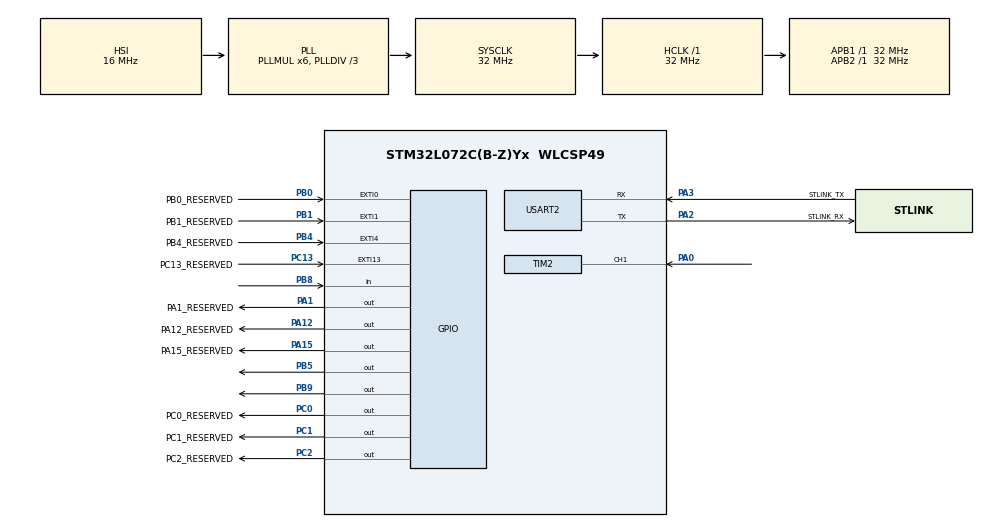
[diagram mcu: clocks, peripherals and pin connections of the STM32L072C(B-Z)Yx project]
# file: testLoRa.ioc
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Mcu.Family=STM32L0
Mcu.Name=STM32L072C(B-Z)Yx
Mcu.Package=WLCSP49
NVIC.EXTI0_1_IRQn=true\:0\:0\:false\:false\:true\:true\:true\:true
NVIC.EXTI4_15_IRQn=true\:0\:0\:false\:false\:true\:true\:true\:true
NVIC.RTC_IRQn=true\:0\:0\:false\:false\:true\:true\:true\:true
NVIC.TIM2_IRQn=true\:0\:0\:false\:false\:true\:true\:true\:true
NVIC.TIM6_DAC_IRQn=true\:0\:0\:false\:false\:true\:true\:true\:true
NVIC.USART2_IRQn=true\:0\:0\:false\:false\:true\:true\:true\:true
PA0.Signal=S_TIM2_CH1
PA1.GPIO_Label=PA1_RESERVED
PA1.GPIO_Speed=GPIO_SPEED_FREQ_HIGH
PA1.PinState=GPIO_PIN_RESET
PA1.Signal=GPIO_Output
PA12.GPIO_Label=PA12_RESERVED
PA12.GPIO_Speed=GPIO_SPEED_FREQ_HIGH
PA12.Signal=GPIO_Output
PA15.GPIO_Label=PA15_RESERVED
PA15.GPIO_Speed=GPIO_SPEED_FREQ_HIGH
PA15.Signal=GPIO_Output
PA2.GPIO_Label=STLINK_RX
PA2.Mode=Asynchronous
PA2.Signal=USART2_TX
PA3.GPIO_Label=STLINK_TX
PA3.Mode=Asynchronous
PA3.Signal=USART2_RX
PA6.GPIO_Label=PA6_RESERVED
PA6.Signal=SPI1_MISO
PA7.GPIO_Label=PA7_RESERVED
PA7.Signal=SPI1_MOSI
PB0.GPIO_Label=PB0_RESERVED
PB0.Signal=GPXTI0
PB1.GPIO_Label=PB1_RESERVED
PB1.Signal=GPXTI1
PB3.Signal=S_TIM2_CH2
PB4.GPIO_Label=PB4_RESERVED
PB4.Signal=GPXTI4
PB5.GPIO_Speed=GPIO_SPEED_FREQ_VERY_HIGH
PB5.Signal=GPIO_Output
PB8.Signal=GPIO_Input
PB9.GPIO_Speed=GPIO_SPEED_FREQ_HIGH
PB9.Signal=GPIO_Output
PC0.GPIO_Label=PC0_RESERVED
PC0.GPIO_Speed=GPIO_SPEED_FREQ_HIGH
PC0.Signal=GPIO_Output
PC1.GPIO_Label=PC1_RESERVED
PC1.GPIO_Speed=GPIO_SPEED_FREQ_HIGH
PC1.Signal=GPIO_Output
PC13.GPIO_Label=PC13_RESERVED
PC13.Signal=GPXTI13
PC2.GPIO_Label=PC2_RESERVED
PC2.GPIO_Speed=GPIO_SPEED_FREQ_HIGH
PC2.Signal=GPIO_Output
PH0-OSC_IN.Mode=HSE-External-Oscillator
PH0-OSC_IN.Signal=RCC_OSC_IN
PH1-OSC_OUT.Mode=HSE-External-Oscillator
PH1-OSC_OUT.Signal=RCC_OSC_OUT
ProjectManager.HeapSize=0x200
ProjectManager.StackSize=0x400
ProjectManager.TargetToolchain=STM32CubeIDE
RCC.AHBFreq_Value=32000000
RCC.APB1Freq_Value=32000000
RCC.APB1TimFreq_Value=32000000
RCC.APB2Freq_Value=32000000
RCC.APB2TimFreq_Value=32000000
RCC.HCLKFreq_Value=32000000
RCC.HSE_VALUE=8000000
RCC.HSI16_VALUE=16000000
RCC.HSI48_VALUE=48000000
RCC.HSI_VALUE=16000000
RCC.LSE_VALUE=32768
RCC.MSI_VALUE=2097000
RCC.PLLDIV=RCC_PLLDIV_3
RCC.PLLMUL=RCC_PLLMUL_6
RCC.SYSCLKFreq_VALUE=32000000
RCC.SYSCLKSource=RCC_SYSCLKSOURCE_PLLCLK
RCC.VCOOutputFreq_Value=96000000
RTC.Alarm-Alarm\ A=RTC_ALARM_A
RTC.AlarmSubSecondMask-Alarm\ A=RTC_ALARMSUBSECONDMASK_NONE
RTC.AsynchPrediv=31
RTC.Format=RTC_FORMAT_BIN
RTC.SynchPrediv=1023
SH.S_TIM2_CH1.0=TIM2_CH1,Input_Capture1_from_TI1
SH.S_TIM2_CH2.0=TIM2_CH2
TIM2.AutoReloadPreload=TIM_AUTORELOAD_PRELOAD_ENABLE
TIM2.Channel-Input_Capture1_from_TI1=TIM_CHANNEL_1
TIM2.Period=0xffff -1
TIM2.Prescaler=32-1
TIM6.AutoReloadPreload=TIM_AUTORELOAD_PRELOAD_ENABLE
TIM6.Period=29
USART2.VirtualMode-Asynchronous=VM_ASYNC
VP_RTC_VS_RTC_Activate.Mode=RTC_Enabled
VP_RTC_VS_RTC_Alarm_A_Intern.Mode=Alarm A
VP_RTC_VS_RTC_Calendar.Mode=RTC_Calendar
VP_TIM2_VS_ClockSourceINT.Mode=Internal
VP_TIM6_VS_ClockSourceINT.Mode=Enable_Timer
board=B-L072Z-LRWAN1

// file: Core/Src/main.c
/* USER CODE BEGIN Header */
/**
  ******************************************************************************
  * @file           : main.c
  * @brief          : Main program body
  ******************************************************************************
  * @attention
  *
  * Copyright (c) 2024 STMicroelectronics.
  * All rights reserved.
  *
  * This software is licensed under terms that can be found in the LICENSE file
  * in the root directory of this software component.
  * If no LICENSE file comes with this software, it is provided AS-IS.
  *
  ******************************************************************************
  */
/* USER CODE END Header */
#include "main.h"

/* USER CODE BEGIN Includes */
#include <stdio.h>
#include "retarget.h"
/* USER CODE END Includes */

RTC_HandleTypeDef hrtc;

TIM_HandleTypeDef htim2;
TIM_HandleTypeDef htim6;

UART_HandleTypeDef huart2;

void SystemClock_Config(void);
static void MX_GPIO_Init(void);
static void MX_RTC_Init(void);
static void MX_USART2_UART_Init(void);
static void MX_TIM2_Init(void);
static void MX_TIM6_Init(void);

/* USER CODE BEGIN 0 */

#define TIMER_FREQUENCY_MHZ 1.9841 // Assurez-vous que cette valeur correspond à la configuration de votre timer

void init_timer_for_microseconds() {
    __HAL_RCC_TIM2_CLK_ENABLE(); // Activer l'horloge du TIM2

    TIM_HandleTypeDef htim2;
    htim2.Instance = TIM2;
    htim2.Init.Prescaler = (uint32_t)((SystemCoreClock / 1000000) - 1); // Configurer pour 1 MHz
    htim2.Init.CounterMode = TIM_COUNTERMODE_UP;
    htim2.Init.Period = 0xFFFF; // Maximum possible
    htim2.Init.ClockDivision = TIM_CLOCKDIVISION_DIV1;
    htim2.Init.AutoReloadPreload = TIM_AUTORELOAD_PRELOAD_DISABLE;
    HAL_TIM_Base_Init(&htim2);

    HAL_TIM_Base_Start(&htim2); // Démarrer le timer
}

uint32_t get_microseconds() {
    return __HAL_TIM_GET_COUNTER(&htim2); // Lire le compteur du TIM2
}

void SysTick_Init(void) {
    // Configuration de SysTick pour compter à 1MHz
    // Supposons que SystemCoreClock est la fréquence du CPU en Hz
    SysTick_Config(1);
}

void delay_us(uint32_t microseconds) {
    uint32_t ticks = 0;
    uint32_t t = microseconds * 1.86478099624; //64 de diff
    while (ticks < t) {
        ticks ++;
        //printf("%ld\n", ticks);
    }
}
/* USER CODE END 0 */

int main(void)
{

  /* USER CODE BEGIN 1 */
	uint32_t start = 0;
	uint32_t end = 0;
	uint32_t duree = 0;
	uint32_t distance = 0;
	uint32_t begin = 0;

  /* USER CODE END 1 */

  /* MCU Configuration--------------------------------------------------------*/

  /* Reset of all peripherals, Initializes the Flash interface and the Systick. */
  HAL_Init();

  /* Configure the system clock */
  SystemClock_Config();

  /* Initialize all configured peripherals */
  MX_GPIO_Init();
  MX_RTC_Init();
  MX_USART2_UART_Init();
  MX_TIM2_Init();
  MX_TIM6_Init();
  /* USER CODE BEGIN 2 */
  RetargetInit(&huart2);
  init_timer_for_microseconds();
  /* USER CODE END 2 */

  /* Infinite loop */
  /* USER CODE BEGIN WHILE */
  while (1)
  {

//	while (1)
//	{
//		printf("on\n");
//		HAL_GPIO_WritePin(GPIOB, GPIO_PIN_5, 1);
//		delay_us(1000000);
//		printf("off\n");
//		HAL_GPIO_WritePin(GPIOB, GPIO_PIN_5, 0);
//		delay_us(1000000);
//	}

	HAL_GPIO_WritePin(GPIOB, GPIO_PIN_9, 0);
	delay_us(2);
	HAL_GPIO_WritePin(GPIOB, GPIO_PIN_9, 1);
	delay_us(10);
	HAL_GPIO_WritePin(GPIOB, GPIO_PIN_9, 0);
	begin = HAL_GetTick();
	while(!HAL_GPIO_ReadPin(GPIOB, GPIO_PIN_8) && (HAL_GetTick() - 100) < begin)
	{
		//printf("readpin : %d \n",HAL_GPIO_ReadPin(GPIOB, GPIO_PIN_8));
	}
	if ((HAL_GetTick() - 100) < begin)
	{
		start = get_microseconds();

		while(HAL_GPIO_ReadPin(GPIOB, GPIO_PIN_8));

		end = get_microseconds();

		duree = end - start ;

		distance = duree * 340 / 2 / 10000;
		if (distance < 500)
		{
			printf("distance : %ld cm \n", distance);
		}
		else
		{
			printf("erreur de mesure\n");
		}

	}
	else
	{
		printf("erreur de mesure\n");
	}

	HAL_Delay(500);
    /* USER CODE END WHILE */

  }
}

void SystemClock_Config(void)
{
  RCC_OscInitTypeDef RCC_OscInitStruct = {0};
  RCC_ClkInitTypeDef RCC_ClkInitStruct = {0};
  RCC_PeriphCLKInitTypeDef PeriphClkInit = {0};

  /** Configure the main internal regulator output voltage
  */
  __HAL_PWR_VOLTAGESCALING_CONFIG(PWR_REGULATOR_VOLTAGE_SCALE1);

  /** Initializes the RCC Oscillators according to the specified parameters
  * in the RCC_OscInitTypeDef structure.
  */
  RCC_OscInitStruct.OscillatorType = RCC_OSCILLATORTYPE_HSI|RCC_OSCILLATORTYPE_LSI;
  RCC_OscInitStruct.HSIState = RCC_HSI_ON;
  RCC_OscInitStruct.HSICalibrationValue = RCC_HSICALIBRATION_DEFAULT;
  RCC_OscInitStruct.LSIState = RCC_LSI_ON;
  RCC_OscInitStruct.PLL.PLLState = RCC_PLL_ON;
  RCC_OscInitStruct.PLL.PLLSource = RCC_PLLSOURCE_HSI;
  RCC_OscInitStruct.PLL.PLLMUL = RCC_PLLMUL_6;
  RCC_OscInitStruct.PLL.PLLDIV = RCC_PLLDIV_3;
  if (HAL_RCC_OscConfig(&RCC_OscInitStruct) != HAL_OK)
  {
    Error_Handler();
  }

  /** Initializes the CPU, AHB and APB buses clocks
  */
  RCC_ClkInitStruct.ClockType = RCC_CLOCKTYPE_HCLK|RCC_CLOCKTYPE_SYSCLK
                              |RCC_CLOCKTYPE_PCLK1|RCC_CLOCKTYPE_PCLK2;
  RCC_ClkInitStruct.SYSCLKSource = RCC_SYSCLKSOURCE_PLLCLK;
  RCC_ClkInitStruct.AHBCLKDivider = RCC_SYSCLK_DIV1;
  RCC_ClkInitStruct.APB1CLKDivider = RCC_HCLK_DIV1;
  RCC_ClkInitStruct.APB2CLKDivider = RCC_HCLK_DIV1;

  if (HAL_RCC_ClockConfig(&RCC_ClkInitStruct, FLASH_LATENCY_1) != HAL_OK)
  {
    Error_Handler();
  }
  PeriphClkInit.PeriphClockSelection = RCC_PERIPHCLK_USART2|RCC_PERIPHCLK_RTC;
  PeriphClkInit.Usart2ClockSelection = RCC_USART2CLKSOURCE_PCLK1;
  PeriphClkInit.RTCClockSelection = RCC_RTCCLKSOURCE_LSI;
  if (HAL_RCCEx_PeriphCLKConfig(&PeriphClkInit) != HAL_OK)
  {
    Error_Handler();
  }
}

static void MX_RTC_Init(void)
{

  RTC_TimeTypeDef sTime = {0};
  RTC_DateTypeDef sDate = {0};
  RTC_AlarmTypeDef sAlarm = {0};

  /** Initialize RTC Only
  */
  hrtc.Instance = RTC;
  hrtc.Init.HourFormat = RTC_HOURFORMAT_24;
  hrtc.Init.AsynchPrediv = 31;
  hrtc.Init.SynchPrediv = 1023;
  hrtc.Init.OutPut = RTC_OUTPUT_DISABLE;
  hrtc.Init.OutPutRemap = RTC_OUTPUT_REMAP_NONE;
  hrtc.Init.OutPutPolarity = RTC_OUTPUT_POLARITY_HIGH;
  hrtc.Init.OutPutType = RTC_OUTPUT_TYPE_OPENDRAIN;
  if (HAL_RTC_Init(&hrtc) != HAL_OK)
  {
    Error_Handler();
  }

  /** Initialize RTC and set the Time and Date
  */
  sTime.Hours = 0;
  sTime.Minutes = 0;
  sTime.Seconds = 0;
  sTime.DayLightSaving = RTC_DAYLIGHTSAVING_NONE;
  sTime.StoreOperation = RTC_STOREOPERATION_RESET;
  if (HAL_RTC_SetTime(&hrtc, &sTime, RTC_FORMAT_BIN) != HAL_OK)
  {
    Error_Handler();
  }
  sDate.WeekDay = RTC_WEEKDAY_MONDAY;
  sDate.Month = RTC_MONTH_JANUARY;
  sDate.Date = 1;
  sDate.Year = 0;

  if (HAL_RTC_SetDate(&hrtc, &sDate, RTC_FORMAT_BIN) != HAL_OK)
  {
    Error_Handler();
  }

  /** Enable the Alarm A
  */
  sAlarm.AlarmTime.Hours = 0;
  sAlarm.AlarmTime.Minutes = 0;
  sAlarm.AlarmTime.Seconds = 0;
  sAlarm.AlarmTime.SubSeconds = 0;
  sAlarm.AlarmTime.DayLightSaving = RTC_DAYLIGHTSAVING_NONE;
  sAlarm.AlarmTime.StoreOperation = RTC_STOREOPERATION_RESET;
  sAlarm.AlarmMask = RTC_ALARMMASK_NONE;
  sAlarm.AlarmSubSecondMask = RTC_ALARMSUBSECONDMASK_NONE;
  sAlarm.AlarmDateWeekDaySel = RTC_ALARMDATEWEEKDAYSEL_DATE;
  sAlarm.AlarmDateWeekDay = 1;
  sAlarm.Alarm = RTC_ALARM_A;
  if (HAL_RTC_SetAlarm_IT(&hrtc, &sAlarm, RTC_FORMAT_BIN) != HAL_OK)
  {
    Error_Handler();
  }

}

static void MX_TIM2_Init(void)
{

  TIM_ClockConfigTypeDef sClockSourceConfig = {0};
  TIM_MasterConfigTypeDef sMasterConfig = {0};
  TIM_IC_InitTypeDef sConfigIC = {0};

  htim2.Instance = TIM2;
  htim2.Init.Prescaler = 32-1;
  htim2.Init.CounterMode = TIM_COUNTERMODE_UP;
  htim2.Init.Period = 0xffff -1;
  htim2.Init.ClockDivision = TIM_CLOCKDIVISION_DIV1;
  htim2.Init.AutoReloadPreload = TIM_AUTORELOAD_PRELOAD_ENABLE;
  if (HAL_TIM_Base_Init(&htim2) != HAL_OK)
  {
    Error_Handler();
  }
  sClockSourceConfig.ClockSource = TIM_CLOCKSOURCE_INTERNAL;
  if (HAL_TIM_ConfigClockSource(&htim2, &sClockSourceConfig) != HAL_OK)
  {
    Error_Handler();
  }
  if (HAL_TIM_IC_Init(&htim2) != HAL_OK)
  {
    Error_Handler();
  }
  sMasterConfig.MasterOutputTrigger = TIM_TRGO_RESET;
  sMasterConfig.MasterSlaveMode = TIM_MASTERSLAVEMODE_DISABLE;
  if (HAL_TIMEx_MasterConfigSynchronization(&htim2, &sMasterConfig) != HAL_OK)
  {
    Error_Handler();
  }
  sConfigIC.ICPolarity = TIM_INPUTCHANNELPOLARITY_RISING;
  sConfigIC.ICSelection = TIM_ICSELECTION_DIRECTTI;
  sConfigIC.ICPrescaler = TIM_ICPSC_DIV1;
  sConfigIC.ICFilter = 0;
  if (HAL_TIM_IC_ConfigChannel(&htim2, &sConfigIC, TIM_CHANNEL_1) != HAL_OK)
  {
    Error_Handler();
  }

}

static void MX_TIM6_Init(void)
{

  TIM_MasterConfigTypeDef sMasterConfig = {0};

  htim6.Instance = TIM6;
  htim6.Init.Prescaler = 0;
  htim6.Init.CounterMode = TIM_COUNTERMODE_UP;
  htim6.Init.Period = 29;
  htim6.Init.AutoReloadPreload = TIM_AUTORELOAD_PRELOAD_ENABLE;
  if (HAL_TIM_Base_Init(&htim6) != HAL_OK)
  {
    Error_Handler();
  }
  sMasterConfig.MasterOutputTrigger = TIM_TRGO_RESET;
  sMasterConfig.MasterSlaveMode = TIM_MASTERSLAVEMODE_DISABLE;
  if (HAL_TIMEx_MasterConfigSynchronization(&htim6, &sMasterConfig) != HAL_OK)
  {
    Error_Handler();
  }

}

static void MX_USART2_UART_Init(void)
{

  huart2.Instance = USART2;
  huart2.Init.BaudRate = 115200;
  huart2.Init.WordLength = UART_WORDLENGTH_8B;
  huart2.Init.StopBits = UART_STOPBITS_1;
  huart2.Init.Parity = UART_PARITY_NONE;
  huart2.Init.Mode = UART_MODE_TX_RX;
  huart2.Init.HwFlowCtl = UART_HWCONTROL_NONE;
  huart2.Init.OverSampling = UART_OVERSAMPLING_16;
  huart2.Init.OneBitSampling = UART_ONE_BIT_SAMPLE_DISABLE;
  huart2.AdvancedInit.AdvFeatureInit = UART_ADVFEATURE_NO_INIT;
  if (HAL_UART_Init(&huart2) != HAL_OK)
  {
    Error_Handler();
  }

}

static void MX_GPIO_Init(void)
{
  GPIO_InitTypeDef GPIO_InitStruct = {0};

  /* GPIO Ports Clock Enable */
  __HAL_RCC_GPIOA_CLK_ENABLE();
  __HAL_RCC_GPIOB_CLK_ENABLE();
  __HAL_RCC_GPIOC_CLK_ENABLE();
  __HAL_RCC_GPIOH_CLK_ENABLE();

  /*Configure GPIO pin Output Level */
  HAL_GPIO_WritePin(GPIOA, PA15_RESERVED_Pin|PA12_RESERVED_Pin|PA1_RESERVED_Pin, GPIO_PIN_RESET);

  /*Configure GPIO pin Output Level */
  HAL_GPIO_WritePin(GPIOB, GPIO_PIN_5|GPIO_PIN_9, GPIO_PIN_RESET);

  /*Configure GPIO pin Output Level */
  HAL_GPIO_WritePin(GPIOC, PC1_RESERVED_Pin|PC0_RESERVED_Pin|PC2_RESERVED_Pin, GPIO_PIN_RESET);

  /*Configure GPIO pins : PA15_RESERVED_Pin PA12_RESERVED_Pin PA1_RESERVED_Pin */
  GPIO_InitStruct.Pin = PA15_RESERVED_Pin|PA12_RESERVED_Pin|PA1_RESERVED_Pin;
  GPIO_InitStruct.Mode = GPIO_MODE_OUTPUT_PP;
  GPIO_InitStruct.Pull = GPIO_NOPULL;
  GPIO_InitStruct.Speed = GPIO_SPEED_FREQ_HIGH;
  HAL_GPIO_Init(GPIOA, &GPIO_InitStruct);

  /*Configure GPIO pin : PB5 */
  GPIO_InitStruct.Pin = GPIO_PIN_5;
  GPIO_InitStruct.Mode = GPIO_MODE_OUTPUT_PP;
  GPIO_InitStruct.Pull = GPIO_NOPULL;
  GPIO_InitStruct.Speed = GPIO_SPEED_FREQ_VERY_HIGH;
  HAL_GPIO_Init(GPIOB, &GPIO_InitStruct);

  /*Configure GPIO pin : PB9 */
  GPIO_InitStruct.Pin = GPIO_PIN_9;
  GPIO_InitStruct.Mode = GPIO_MODE_OUTPUT_PP;
  GPIO_InitStruct.Pull = GPIO_NOPULL;
  GPIO_InitStruct.Speed = GPIO_SPEED_FREQ_HIGH;
  HAL_GPIO_Init(GPIOB, &GPIO_InitStruct);

  /*Configure GPIO pins : PB4_RESERVED_Pin PB1_RESERVED_Pin PB0_RESERVED_Pin */
  GPIO_InitStruct.Pin = PB4_RESERVED_Pin|PB1_RESERVED_Pin|PB0_RESERVED_Pin;
  GPIO_InitStruct.Mode = GPIO_MODE_IT_RISING;
  GPIO_InitStruct.Pull = GPIO_NOPULL;
  HAL_GPIO_Init(GPIOB, &GPIO_InitStruct);

  /*Configure GPIO pin : PB8 */
  GPIO_InitStruct.Pin = GPIO_PIN_8;
  GPIO_InitStruct.Mode = GPIO_MODE_INPUT;
  GPIO_InitStruct.Pull = GPIO_NOPULL;
  HAL_GPIO_Init(GPIOB, &GPIO_InitStruct);

  /*Configure GPIO pin : PC13_RESERVED_Pin */
  GPIO_InitStruct.Pin = PC13_RESERVED_Pin;
  GPIO_InitStruct.Mode = GPIO_MODE_IT_RISING;
  GPIO_InitStruct.Pull = GPIO_NOPULL;
  HAL_GPIO_Init(PC13_RESERVED_GPIO_Port, &GPIO_InitStruct);

  /*Configure GPIO pins : PC1_RESERVED_Pin PC0_RESERVED_Pin PC2_RESERVED_Pin */
  GPIO_InitStruct.Pin = PC1_RESERVED_Pin|PC0_RESERVED_Pin|PC2_RESERVED_Pin;
  GPIO_InitStruct.Mode = GPIO_MODE_OUTPUT_PP;
  GPIO_InitStruct.Pull = GPIO_NOPULL;
  GPIO_InitStruct.Speed = GPIO_SPEED_FREQ_HIGH;
  HAL_GPIO_Init(GPIOC, &GPIO_InitStruct);

  /* EXTI interrupt init*/
  HAL_NVIC_SetPriority(EXTI0_1_IRQn, 0, 0);
  HAL_NVIC_EnableIRQ(EXTI0_1_IRQn);

  HAL_NVIC_SetPriority(EXTI4_15_IRQn, 0, 0);
  HAL_NVIC_EnableIRQ(EXTI4_15_IRQn);

}

void Error_Handler(void)
{
  __disable_irq();
  while (1)
  {
  }
}
